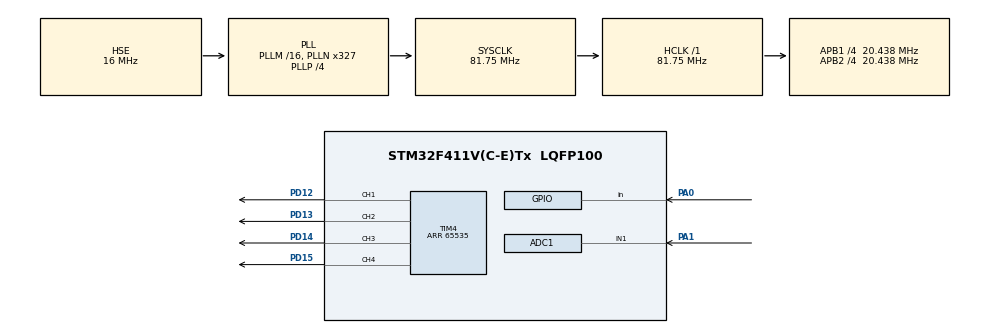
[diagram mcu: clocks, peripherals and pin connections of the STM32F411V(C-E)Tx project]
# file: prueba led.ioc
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ADC1.Channel-8\#ChannelRegularConversion=ADC_CHANNEL_1
ADC1.ClockPrescaler=ADC_CLOCK_SYNC_PCLK_DIV4
ADC1.ContinuousConvMode=ENABLE
ADC1.NbrOfConversionFlag=1
ADC1.Rank-8\#ChannelRegularConversion=1
ADC1.SamplingTime-8\#ChannelRegularConversion=ADC_SAMPLETIME_3CYCLES
ADC1.master=1
Mcu.Family=STM32F4
Mcu.Name=STM32F411V(C-E)Tx
Mcu.Package=LQFP100
NVIC.PriorityGroup=NVIC_PRIORITYGROUP_4
PA0-WKUP.Signal=GPIO_Input
PA1.Signal=ADCx_IN1
PA13.Mode=Serial_Wire
PA13.Signal=SYS_JTMS-SWDIO
PA14.Mode=Serial_Wire
PA14.Signal=SYS_JTCK-SWCLK
PD12.Signal=S_TIM4_CH1
PD13.Signal=S_TIM4_CH2
PD14.Signal=S_TIM4_CH3
PD15.Signal=S_TIM4_CH4
PH0\ -\ OSC_IN.Mode=HSE-External-Oscillator
PH0\ -\ OSC_IN.Signal=RCC_OSC_IN
PH1\ -\ OSC_OUT.Mode=HSE-External-Oscillator
PH1\ -\ OSC_OUT.Signal=RCC_OSC_OUT
ProjectManager.HeapSize=0x200
ProjectManager.StackSize=0x400
ProjectManager.TargetToolchain=MDK-ARM V5
RCC.48MHZClocksFreq_Value=81750000
RCC.AHBFreq_Value=81750000
RCC.APB1CLKDivider=RCC_HCLK_DIV4
RCC.APB1Freq_Value=20437500
RCC.APB1TimFreq_Value=40875000
RCC.APB2CLKDivider=RCC_HCLK_DIV4
RCC.APB2Freq_Value=20437500
RCC.APB2TimFreq_Value=40875000
RCC.CortexFreq_Value=81750000
RCC.HCLKFreq_Value=81750000
RCC.HSE_VALUE=16000000
RCC.HSI_VALUE=16000000
RCC.LSE_VALUE=32768
RCC.PLLN=327
RCC.PLLP=RCC_PLLP_DIV4
RCC.PLLSourceVirtual=RCC_PLLSOURCE_HSE
RCC.SYSCLKFreq_VALUE=81750000
RCC.SYSCLKSource=RCC_SYSCLKSOURCE_PLLCLK
RCC.VCOOutputFreq_Value=327000000
SH.ADCx_IN1.0=ADC1_IN1,IN1
SH.S_TIM4_CH1.0=TIM4_CH1,PWM Generation1 CH1
SH.S_TIM4_CH2.0=TIM4_CH2,PWM Generation2 CH2
SH.S_TIM4_CH3.0=TIM4_CH3,PWM Generation3 CH3
SH.S_TIM4_CH4.0=TIM4_CH4,PWM Generation4 CH4
TIM4.Channel-PWM\ Generation1\ CH1=TIM_CHANNEL_1
TIM4.Channel-PWM\ Generation2\ CH2=TIM_CHANNEL_2
TIM4.Channel-PWM\ Generation3\ CH3=TIM_CHANNEL_3
TIM4.Channel-PWM\ Generation4\ CH4=TIM_CHANNEL_4
TIM4.Period=65535
VP_TIM4_VS_ClockSourceINT.Mode=Internal
board=custom

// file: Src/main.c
/**
  ******************************************************************************
  * @file           : main.c
  * @brief          : Main program body
  ******************************************************************************
  ** This notice applies to any and all portions of this file
  * that are not between comment pairs USER CODE BEGIN and
  * USER CODE END. Other portions of this file, whether
  * inserted by the user or by software development tools
  * are owned by their respective copyright owners.
  *
  * COPYRIGHT(c) 2018 STMicroelectronics
  *
  * Redistribution and use in source and binary forms, with or without modification,
  * are permitted provided that the following conditions are met:
  *   1. Redistributions of source code must retain the above copyright notice,
  *      this list of conditions and the following disclaimer.
  *   2. Redistributions in binary form must reproduce the above copyright notice,
  *      this list of conditions and the following disclaimer in the documentation
  *      and/or other materials provided with the distribution.
  *   3. Neither the name of STMicroelectronics nor the names of its contributors
  *      may be used to endorse or promote products derived from this software
  *      without specific prior written permission.
  *
  * THIS SOFTWARE IS PROVIDED BY THE COPYRIGHT HOLDERS AND CONTRIBUTORS "AS IS"
  * AND ANY EXPRESS OR IMPLIED WARRANTIES, INCLUDING, BUT NOT LIMITED TO, THE
  * IMPLIED WARRANTIES OF MERCHANTABILITY AND FITNESS FOR A PARTICULAR PURPOSE ARE
  * DISCLAIMED. IN NO EVENT SHALL THE COPYRIGHT HOLDER OR CONTRIBUTORS BE LIABLE
  * FOR ANY DIRECT, INDIRECT, INCIDENTAL, SPECIAL, EXEMPLARY, OR CONSEQUENTIAL
  * DAMAGES (INCLUDING, BUT NOT LIMITED TO, PROCUREMENT OF SUBSTITUTE GOODS OR
  * SERVICES; LOSS OF USE, DATA, OR PROFITS; OR BUSINESS INTERRUPTION) HOWEVER
  * CAUSED AND ON ANY THEORY OF LIABILITY, WHETHER IN CONTRACT, STRICT LIABILITY,
  * OR TORT (INCLUDING NEGLIGENCE OR OTHERWISE) ARISING IN ANY WAY OUT OF THE USE
  * OF THIS SOFTWARE, EVEN IF ADVISED OF THE POSSIBILITY OF SUCH DAMAGE.
  *
  ******************************************************************************
  */
#include "main.h"
#include "stm32f4xx_hal.h"

ADC_HandleTypeDef hadc1;

TIM_HandleTypeDef htim4;

/* USER CODE BEGIN PV */
/* Private variables ---------------------------------------------------------*/

/* USER CODE END PV */

void SystemClock_Config(void);
static void MX_GPIO_Init(void);
static void MX_TIM4_Init(void);
static void MX_ADC1_Init(void);

void HAL_TIM_MspPostInit(TIM_HandleTypeDef *htim);
int PWM=0;
int a=1;
uint32_t LDR=0;
int timer=0;

/* USER CODE BEGIN PFP */
/* Private function prototypes -----------------------------------------------*/

/* USER CODE END PFP */

int main(void)
{

  /* MCU Configuration----------------------------------------------------------*/

  /* Reset of all peripherals, Initializes the Flash interface and the Systick. */
  HAL_Init();

  /* Configure the system clock */
  SystemClock_Config();

  /* Initialize all configured peripherals */
  MX_GPIO_Init();
  MX_TIM4_Init();
  MX_ADC1_Init();
  /* USER CODE BEGIN 2 */
HAL_TIM_PWM_Start(&htim4, TIM_CHANNEL_2);//Inicializamos los canales
HAL_TIM_PWM_Start(&htim4, TIM_CHANNEL_3);
HAL_TIM_PWM_Start(&htim4, TIM_CHANNEL_4);
HAL_TIM_PWM_Start(&htim4, TIM_CHANNEL_1);
HAL_ADC_Start (&hadc1);
TIM4->CCR1=50000;

  /* USER CODE END 2 */

  /* Infinite loop */
  /* USER CODE BEGIN WHILE */
  while (1)
  {
//		HAL_Delay(1);
//		TIM4->CCR4=PWM;
//
//	if (PWM>65000)
//		a=0;
//	if (PWM==0)
//	  a=1;
//
//	if(a==1)
//		PWM=PWM+100;
//	if(a==0)
//	PWM=PWM-100;

		if(HAL_GPIO_ReadPin(GPIOA,GPIO_PIN_0))
		{
		if (timer>65000)
		a=0;
	if (timer<0)
	  a=1;

	if(a==1)
		timer++;
	if(a==0)
		timer--;
}
		TIM4->CCR2=timer;
	HAL_ADC_PollForConversion (&hadc1, 1000);
		LDR = HAL_ADC_GetValue(&hadc1);
		if(LDR>1100)
			TIM4->CCR3=0;
		else
	TIM4->CCR3=65000-(LDR*65000/1200);

	TIM4->CCR4=(LDR*54);

  /* USER CODE END WHILE */

  }

}

void SystemClock_Config(void)
{

  RCC_OscInitTypeDef RCC_OscInitStruct;
  RCC_ClkInitTypeDef RCC_ClkInitStruct;

    /**Configure the main internal regulator output voltage
    */
  __HAL_RCC_PWR_CLK_ENABLE();

  __HAL_PWR_VOLTAGESCALING_CONFIG(PWR_REGULATOR_VOLTAGE_SCALE1);

    /**Initializes the CPU, AHB and APB busses clocks
    */
  RCC_OscInitStruct.OscillatorType = RCC_OSCILLATORTYPE_HSE;
  RCC_OscInitStruct.HSEState = RCC_HSE_ON;
  RCC_OscInitStruct.PLL.PLLState = RCC_PLL_ON;
  RCC_OscInitStruct.PLL.PLLSource = RCC_PLLSOURCE_HSE;
  RCC_OscInitStruct.PLL.PLLM = 16;
  RCC_OscInitStruct.PLL.PLLN = 327;
  RCC_OscInitStruct.PLL.PLLP = RCC_PLLP_DIV4;
  RCC_OscInitStruct.PLL.PLLQ = 4;
  if (HAL_RCC_OscConfig(&RCC_OscInitStruct) != HAL_OK)
  {
    _Error_Handler(__FILE__, __LINE__);
  }

    /**Initializes the CPU, AHB and APB busses clocks
    */
  RCC_ClkInitStruct.ClockType = RCC_CLOCKTYPE_HCLK|RCC_CLOCKTYPE_SYSCLK
                              |RCC_CLOCKTYPE_PCLK1|RCC_CLOCKTYPE_PCLK2;
  RCC_ClkInitStruct.SYSCLKSource = RCC_SYSCLKSOURCE_PLLCLK;
  RCC_ClkInitStruct.AHBCLKDivider = RCC_SYSCLK_DIV1;
  RCC_ClkInitStruct.APB1CLKDivider = RCC_HCLK_DIV4;
  RCC_ClkInitStruct.APB2CLKDivider = RCC_HCLK_DIV4;

  if (HAL_RCC_ClockConfig(&RCC_ClkInitStruct, FLASH_LATENCY_2) != HAL_OK)
  {
    _Error_Handler(__FILE__, __LINE__);
  }

    /**Configure the Systick interrupt time
    */
  HAL_SYSTICK_Config(HAL_RCC_GetHCLKFreq()/1000);

    /**Configure the Systick
    */
  HAL_SYSTICK_CLKSourceConfig(SYSTICK_CLKSOURCE_HCLK);

  /* SysTick_IRQn interrupt configuration */
  HAL_NVIC_SetPriority(SysTick_IRQn, 0, 0);
}

/* ADC1 init function */
static void MX_ADC1_Init(void)
{

  ADC_ChannelConfTypeDef sConfig;

    /**Configure the global features of the ADC (Clock, Resolution, Data Alignment and number of conversion)
    */
  hadc1.Instance = ADC1;
  hadc1.Init.ClockPrescaler = ADC_CLOCK_SYNC_PCLK_DIV4;
  hadc1.Init.Resolution = ADC_RESOLUTION_12B;
  hadc1.Init.ScanConvMode = DISABLE;
  hadc1.Init.ContinuousConvMode = ENABLE;
  hadc1.Init.DiscontinuousConvMode = DISABLE;
  hadc1.Init.ExternalTrigConvEdge = ADC_EXTERNALTRIGCONVEDGE_NONE;
  hadc1.Init.ExternalTrigConv = ADC_SOFTWARE_START;
  hadc1.Init.DataAlign = ADC_DATAALIGN_RIGHT;
  hadc1.Init.NbrOfConversion = 1;
  hadc1.Init.DMAContinuousRequests = DISABLE;
  hadc1.Init.EOCSelection = ADC_EOC_SINGLE_CONV;
  if (HAL_ADC_Init(&hadc1) != HAL_OK)
  {
    _Error_Handler(__FILE__, __LINE__);
  }

    /**Configure for the selected ADC regular channel its corresponding rank in the sequencer and its sample time.
    */
  sConfig.Channel = ADC_CHANNEL_1;
  sConfig.Rank = 1;
  sConfig.SamplingTime = ADC_SAMPLETIME_3CYCLES;
  if (HAL_ADC_ConfigChannel(&hadc1, &sConfig) != HAL_OK)
  {
    _Error_Handler(__FILE__, __LINE__);
  }

}

/* TIM4 init function */
static void MX_TIM4_Init(void)
{

  TIM_ClockConfigTypeDef sClockSourceConfig;
  TIM_MasterConfigTypeDef sMasterConfig;
  TIM_OC_InitTypeDef sConfigOC;

  htim4.Instance = TIM4;
  htim4.Init.Prescaler = 0;
  htim4.Init.CounterMode = TIM_COUNTERMODE_UP;
  htim4.Init.Period = 65535;
  htim4.Init.ClockDivision = TIM_CLOCKDIVISION_DIV1;
  if (HAL_TIM_Base_Init(&htim4) != HAL_OK)
  {
    _Error_Handler(__FILE__, __LINE__);
  }

  sClockSourceConfig.ClockSource = TIM_CLOCKSOURCE_INTERNAL;
  if (HAL_TIM_ConfigClockSource(&htim4, &sClockSourceConfig) != HAL_OK)
  {
    _Error_Handler(__FILE__, __LINE__);
  }

  if (HAL_TIM_PWM_Init(&htim4) != HAL_OK)
  {
    _Error_Handler(__FILE__, __LINE__);
  }

  sMasterConfig.MasterOutputTrigger = TIM_TRGO_RESET;
  sMasterConfig.MasterSlaveMode = TIM_MASTERSLAVEMODE_DISABLE;
  if (HAL_TIMEx_MasterConfigSynchronization(&htim4, &sMasterConfig) != HAL_OK)
  {
    _Error_Handler(__FILE__, __LINE__);
  }

  sConfigOC.OCMode = TIM_OCMODE_PWM1;
  sConfigOC.Pulse = 0;
  sConfigOC.OCPolarity = TIM_OCPOLARITY_HIGH;
  sConfigOC.OCFastMode = TIM_OCFAST_DISABLE;
  if (HAL_TIM_PWM_ConfigChannel(&htim4, &sConfigOC, TIM_CHANNEL_1) != HAL_OK)
  {
    _Error_Handler(__FILE__, __LINE__);
  }

  if (HAL_TIM_PWM_ConfigChannel(&htim4, &sConfigOC, TIM_CHANNEL_2) != HAL_OK)
  {
    _Error_Handler(__FILE__, __LINE__);
  }

  if (HAL_TIM_PWM_ConfigChannel(&htim4, &sConfigOC, TIM_CHANNEL_3) != HAL_OK)
  {
    _Error_Handler(__FILE__, __LINE__);
  }

  if (HAL_TIM_PWM_ConfigChannel(&htim4, &sConfigOC, TIM_CHANNEL_4) != HAL_OK)
  {
    _Error_Handler(__FILE__, __LINE__);
  }

  HAL_TIM_MspPostInit(&htim4);

}

/** Configure pins as
        * Analog
        * Input
        * Output
        * EVENT_OUT
        * EXTI
*/
static void MX_GPIO_Init(void)
{

  GPIO_InitTypeDef GPIO_InitStruct;

  /* GPIO Ports Clock Enable */
  __HAL_RCC_GPIOH_CLK_ENABLE();
  __HAL_RCC_GPIOA_CLK_ENABLE();
  __HAL_RCC_GPIOD_CLK_ENABLE();

  /*Configure GPIO pin : PA0 */
  GPIO_InitStruct.Pin = GPIO_PIN_0;
  GPIO_InitStruct.Mode = GPIO_MODE_INPUT;
  GPIO_InitStruct.Pull = GPIO_NOPULL;
  HAL_GPIO_Init(GPIOA, &GPIO_InitStruct);

}

void _Error_Handler(char *file, int line)
{
  while(1)
  {
  }
}

/************************ (C) COPYRIGHT STMicroelectronics *****END OF FILE****/
